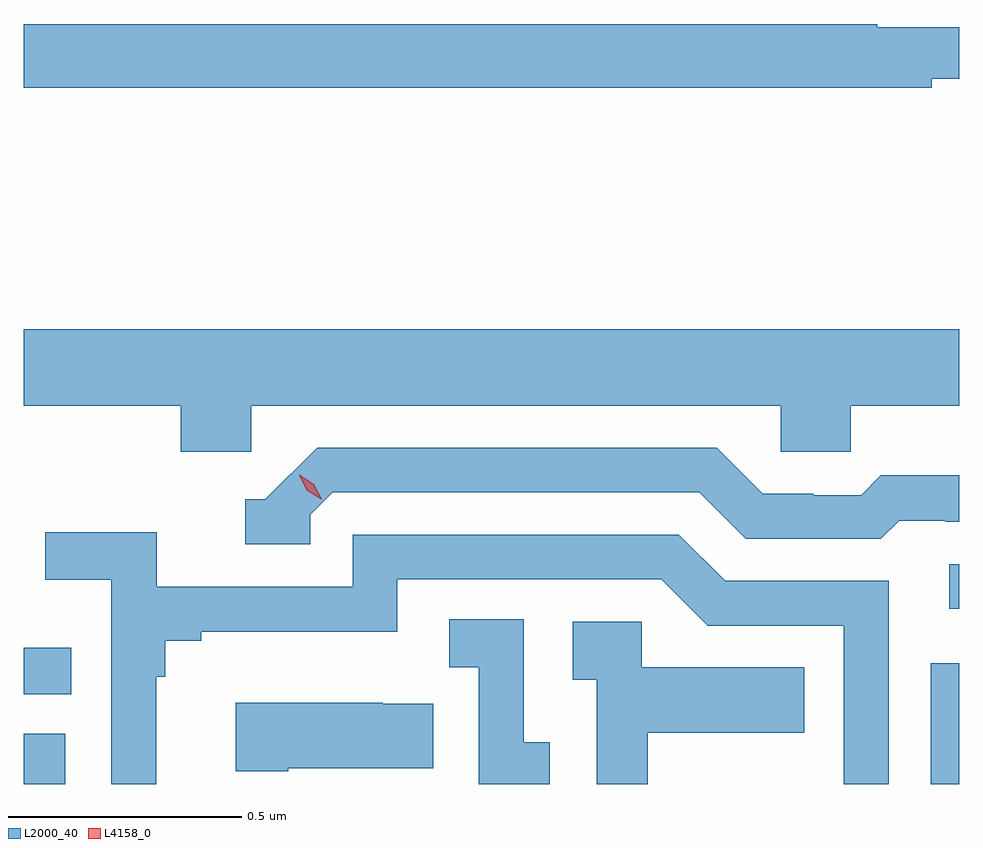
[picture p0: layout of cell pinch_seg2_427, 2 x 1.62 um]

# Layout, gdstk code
import gdstk
lib = gdstk.Library(unit=1e-6, precision=1e-09)
def R(c, l, rs):  # rectangles x0, y0, x1, y1
    for r in rs: c.add(gdstk.rectangle(r[:2], r[2:], *l))
def P(c, l, *ps):  # polygons
    for p in ps: c.add(gdstk.Polygon(p, *l))
L2000_40 = (2000, 40)
L4158_0 = (4158, 0)

pinch_seg2_427 = lib.new_cell('pinch_seg2_427')
R(pinch_seg2_427, L2000_40, [(1002.131,612.196,1002.22,612.303), (1004.07,612.196,1004.131,612.454), (1002.131,612.388,1002.233,612.487), (1004.109,612.57,1004.131,612.666)])
P(pinch_seg2_427, L2000_40, [(1004.072,613.703),(1004.131,613.703),(1004.131,613.813),(1003.955,613.813),(1003.955,613.82),(1002.131,613.82),(1002.131,613.684),(1004.072,613.684)],
  [(1002.618,613.004),(1003.749,613.004),(1003.749,612.906),(1003.899,612.906),(1003.899,613.004),(1004.131,613.004),(1004.131,613.168),(1002.131,613.168),(1002.131,613.004),(1002.467,613.004),(1002.467,612.906),(1002.618,612.906)],
  [(1002.744,612.771),(1002.792,612.819),(1003.575,612.819),(1003.674,612.72),(1003.963,612.72),(1004.002,612.759),(1004.101,612.759),(1004.101,612.756),(1004.131,612.756),(1004.131,612.856),(1003.963,612.856),(1003.921,612.813),(1003.818,612.813),(1003.818,612.816),(1003.711,612.816),(1003.612,612.915),(1002.759,612.915),(1002.648,612.804),(1002.605,612.804),(1002.605,612.708),(1002.744,612.708)],
  [(1002.415,612.425),(1002.434,612.425),(1002.434,612.502),(1002.511,612.502),(1002.511,612.521),(1002.93,612.521),(1002.93,612.633),(1003.494,612.633),(1003.593,612.534),(1003.884,612.534),(1003.884,612.196),(1003.98,612.196),(1003.98,612.63),(1003.63,612.63),(1003.531,612.729),(1002.834,612.729),(1002.834,612.618),(1002.416,612.618),(1002.416,612.734),(1002.177,612.734),(1002.177,612.632),(1002.318,612.632),(1002.318,612.196),(1002.415,612.196)],
  [(1003.255,612.285),(1003.2,612.285),(1003.2,612.548),(1003.041,612.548),(1003.041,612.445),(1003.104,612.445),(1003.104,612.196),(1003.255,612.196)],
  [(1003.465,612.305),(1003.799,612.305),(1003.799,612.445),(1003.452,612.445),(1003.452,612.543),(1003.305,612.543),(1003.305,612.419),(1003.356,612.419),(1003.356,612.196),(1003.465,612.196)],
  [(1002.697,612.23),(1003.007,612.23),(1003.007,612.367),(1002.899,612.367),(1002.899,612.37),(1002.585,612.37),(1002.585,612.223),(1002.697,612.223)])
P(pinch_seg2_427, L4158_0, [(1002.767,612.804),(1002.736,612.824),(1002.72,612.856),(1002.72,612.857),(1002.72,612.857),(1002.751,612.837),(1002.768,612.805),(1002.768,612.804)])

lib.write_gds('pinch_seg2_427.gds')
